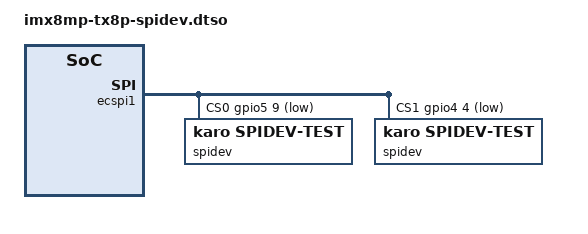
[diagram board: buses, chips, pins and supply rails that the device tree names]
// SPDX-License-Identifier: (GPL-2.0 OR BSD-3-Clause)
/*
 * Copyright (C) 2023 Lothar Waßmann <LW@KARO-electronics.de>
 */

/dts-v1/;

/plugin/;

#include <dt-bindings/gpio/gpio.h>
#include "imx8mp-pinfunc.h"

&{/aliases} {
	spi0 = "/soc@0/bus@30800000/spba-bus@30800000/spi@30830000";
};

&{/chosen} {
	overlays {
		tx8p-spidev;
	};
};

&ecspi1 {
	pinctrl-names = "default";
	pinctrl-0 = <&pinctrl_ecspi1 &pinctrl_ecspi1_cs0 &pinctrl_ecspi1_cs1>;
	cs-gpios = <&gpio5 9 GPIO_ACTIVE_LOW &gpio4 4 GPIO_ACTIVE_LOW>;
	status = "okay";

	spidev@0 {
		reg = <0>;
		compatible = "karo,spidev-test";
	};

	spidev@1 {
		reg = <1>;
		compatible = "karo,spidev-test";
	};
};

&iomuxc {
	pinctrl_ecspi1: ecspi1grp {
		fsl,pins = <
			MX8MP_IOMUXC_ECSPI1_MISO__ECSPI1_MISO		0x156
			MX8MP_IOMUXC_ECSPI1_MOSI__ECSPI1_MOSI		0x156
			MX8MP_IOMUXC_ECSPI1_SCLK__ECSPI1_SCLK		0x156
		>;
	};

	pinctrl_ecspi1_cs0: ecspi1-cs0grp {
		fsl,pins = <
			MX8MP_IOMUXC_ECSPI1_SS0__GPIO5_IO09		0x3fe
		>;
	};

	pinctrl_ecspi1_cs1: ecspi1-cs1grp {
		fsl,pins = <
			MX8MP_IOMUXC_SAI1_RXD2__GPIO4_IO04		0x3fe
		>;
	};
};
